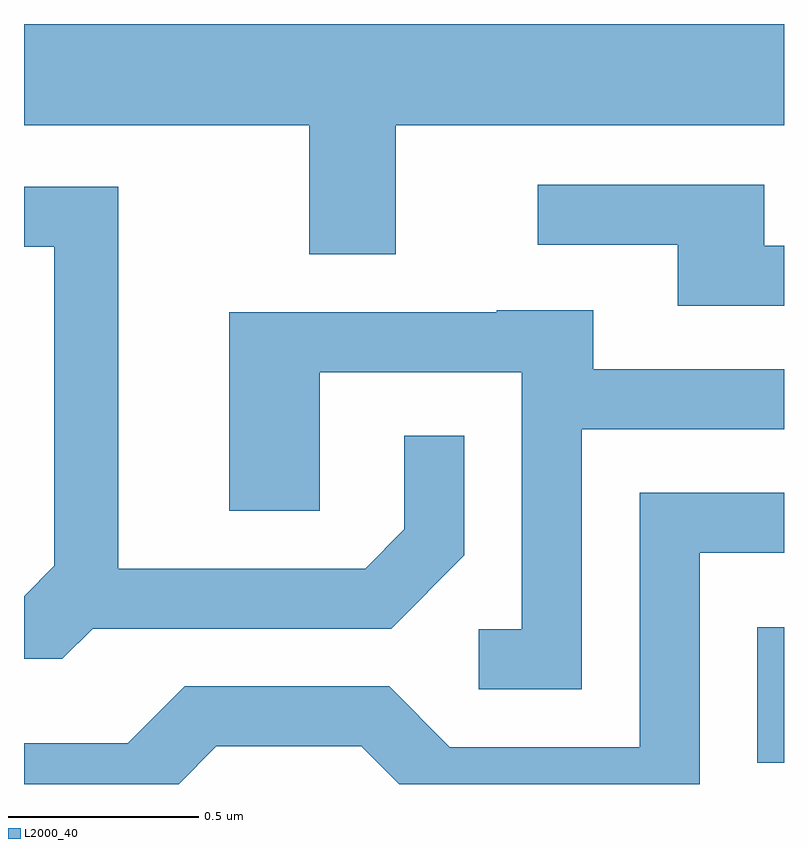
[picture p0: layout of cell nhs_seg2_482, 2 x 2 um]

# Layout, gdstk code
import gdstk
lib = gdstk.Library(unit=1e-6, precision=1e-09)
def R(c, l, rs):  # rectangles x0, y0, x1, y1
    for r in rs: c.add(gdstk.rectangle(r[:2], r[2:], *l))
def P(c, l, *ps):  # polygons
    for p in ps: c.add(gdstk.Polygon(p, *l))
L2000_40 = (2000, 40)

nhs_seg2_482 = lib.new_cell('nhs_seg2_482')
R(nhs_seg2_482, L2000_40, [(190.541,1048.858,190.611,1049.214)])
P(nhs_seg2_482, L2000_40, [(189.589,1050.536),(190.611,1050.536),(190.611,1050.802),(188.611,1050.802),(188.611,1050.536),(189.361,1050.536),(189.361,1050.196),(189.589,1050.196)],
  [(190.611,1050.219),(190.559,1050.219),(190.559,1050.379),(189.963,1050.379),(189.963,1050.221),(190.331,1050.221),(190.331,1050.061),(190.611,1050.061)],
  [(188.792,1049.211),(189.577,1049.211),(189.769,1049.404),(189.769,1049.718),(189.611,1049.718),(189.611,1049.472),(189.509,1049.369),(188.859,1049.369),(188.859,1050.374),(188.611,1050.374),(188.611,1050.216),(188.691,1050.216),(188.691,1049.377),(188.611,1049.296),(188.611,1049.131),(188.712,1049.131)],
  [(190.079,1049.736),(190.611,1049.736),(190.611,1049.894),(190.109,1049.894),(190.109,1050.049),(189.855,1050.049),(189.855,1050.044),(189.151,1050.044),(189.151,1049.521),(189.389,1049.521),(189.389,1049.886),(189.921,1049.886),(189.921,1049.209),(189.808,1049.209),(189.808,1049.051),(190.079,1049.051)],
  [(189.117,1048.901),(189.499,1048.901),(189.598,1048.802),(190.389,1048.802),(190.389,1049.411),(190.611,1049.411),(190.611,1049.569),(190.231,1049.569),(190.231,1048.899),(189.732,1048.899),(189.572,1049.059),(189.034,1049.059),(188.884,1048.909),(188.611,1048.909),(188.611,1048.802),(189.018,1048.802)])

lib.write_gds('nhs_seg2_482.gds')
